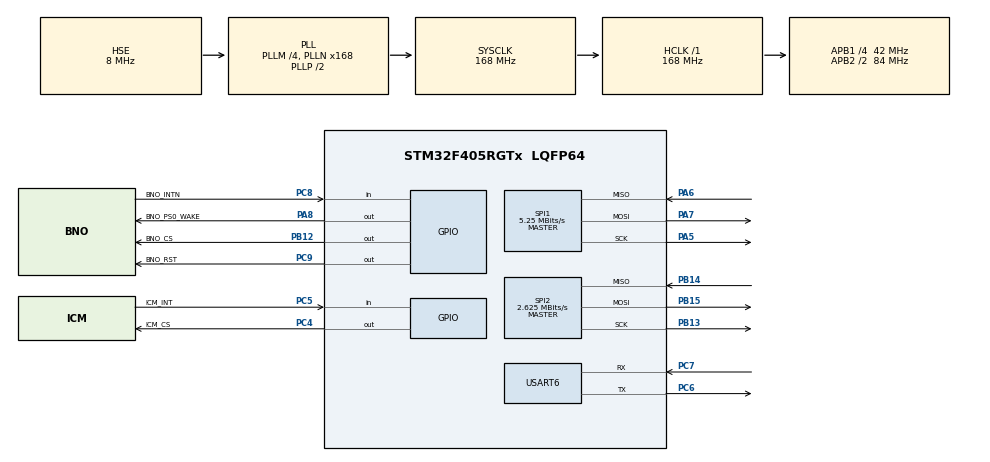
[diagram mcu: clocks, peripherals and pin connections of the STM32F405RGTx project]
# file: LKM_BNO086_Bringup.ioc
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Mcu.Family=STM32F4
Mcu.Name=STM32F405RGTx
Mcu.Package=LQFP64
NVIC.PriorityGroup=NVIC_PRIORITYGROUP_4
PA13.Mode=Serial_Wire
PA13.Signal=SYS_JTMS-SWDIO
PA14.Mode=Serial_Wire
PA14.Signal=SYS_JTCK-SWCLK
PA5.Mode=Full_Duplex_Master
PA5.Signal=SPI1_SCK
PA6.Mode=Full_Duplex_Master
PA6.Signal=SPI1_MISO
PA7.Mode=Full_Duplex_Master
PA7.Signal=SPI1_MOSI
PA8.GPIO_Label=BNO_PS0_WAKE
PA8.PinState=GPIO_PIN_SET
PA8.Signal=GPIO_Output
PB12.GPIO_Label=BNO_CS
PB12.PinState=GPIO_PIN_SET
PB12.Signal=GPIO_Output
PB13.Mode=Full_Duplex_Master
PB13.Signal=SPI2_SCK
PB14.Mode=Full_Duplex_Master
PB14.Signal=SPI2_MISO
PB15.Mode=Full_Duplex_Master
PB15.Signal=SPI2_MOSI
PC4.GPIO_Label=ICM_CS
PC4.PinState=GPIO_PIN_SET
PC4.Signal=GPIO_Output
PC5.GPIO_Label=ICM_INT
PC5.Signal=GPIO_Input
PC6.Mode=Asynchronous
PC6.Signal=USART6_TX
PC7.Mode=Asynchronous
PC7.Signal=USART6_RX
PC8.GPIO_Label=BNO_INTN
PC8.GPIO_PuPd=GPIO_PULLUP
PC8.Signal=GPIO_Input
PC9.GPIO_Label=BNO_RST
PC9.PinState=GPIO_PIN_SET
PC9.Signal=GPIO_Output
PH0-OSC_IN.Mode=HSE-External-Oscillator
PH0-OSC_IN.Signal=RCC_OSC_IN
PH1-OSC_OUT.Mode=HSE-External-Oscillator
PH1-OSC_OUT.Signal=RCC_OSC_OUT
ProjectManager.HeapSize=0x200
ProjectManager.StackSize=0x400
ProjectManager.TargetToolchain=STM32CubeIDE
RCC.48MHZClocksFreq_Value=84000000
RCC.AHBFreq_Value=168000000
RCC.APB1CLKDivider=RCC_HCLK_DIV4
RCC.APB1Freq_Value=42000000
RCC.APB1TimFreq_Value=84000000
RCC.APB2CLKDivider=RCC_HCLK_DIV2
RCC.APB2Freq_Value=84000000
RCC.APB2TimFreq_Value=168000000
RCC.CortexFreq_Value=168000000
RCC.HCLKFreq_Value=168000000
RCC.HSE_VALUE=8000000
RCC.HSI_VALUE=16000000
RCC.LSE_VALUE=32768
RCC.PLLM=4
RCC.PLLN=168
RCC.PLLSourceVirtual=RCC_PLLSOURCE_HSE
RCC.SYSCLKFreq_VALUE=168000000
RCC.SYSCLKSource=RCC_SYSCLKSOURCE_PLLCLK
RCC.VCOOutputFreq_Value=336000000
SPI1.BaudRatePrescaler=SPI_BAUDRATEPRESCALER_16
SPI1.CalculateBaudRate=5.25 MBits/s
SPI1.Direction=SPI_DIRECTION_2LINES
SPI1.Mode=SPI_MODE_MASTER
SPI1.VirtualType=VM_MASTER
SPI2.BaudRatePrescaler=SPI_BAUDRATEPRESCALER_16
SPI2.CLKPhase=SPI_PHASE_2EDGE
SPI2.CLKPolarity=SPI_POLARITY_HIGH
SPI2.CalculateBaudRate=2.625 MBits/s
SPI2.Direction=SPI_DIRECTION_2LINES
SPI2.Mode=SPI_MODE_MASTER
SPI2.VirtualType=VM_MASTER
USART6.VirtualMode=VM_ASYNC
board=custom

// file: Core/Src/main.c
/* USER CODE BEGIN Header */
/**
  ******************************************************************************
  * @file           : main.c
  * @brief          : Main program body
  ******************************************************************************
  * @attention
  *
  * Copyright (c) 2026 STMicroelectronics.
  * All rights reserved.
  *
  * This software is licensed under terms that can be found in the LICENSE file
  * in the root directory of this software component.
  * If no LICENSE file comes with this software, it is provided AS-IS.
  *
  ******************************************************************************
  */
/* USER CODE END Header */
#include "main.h"
#include "spi.h"
#include "usart.h"
#include "gpio.h"

/* USER CODE BEGIN Includes */

#include "lkm_bno086_diag.h"
#include "lkm_bno086_uart_diag.h"
#include "lkm_dual_imu_diag.h"
#include "lkm_fc100hz_bridge.h"
#include "lkm_aw_shadow.h"
#include "lkm_rp_frame_monitor.h"
#include "lkm_fc_actuator_monitor.h"
/* USER CODE END Includes */

void SystemClock_Config(void);

int main(void)
{

  /* MCU Configuration--------------------------------------------------------*/

  /* Reset of all peripherals, Initializes the Flash interface and the Systick. */
  HAL_Init();

  /* Configure the system clock */
  SystemClock_Config();

  /* Initialize all configured peripherals */
  MX_GPIO_Init();
  MX_SPI2_Init();
  MX_USART6_UART_Init();
  MX_SPI1_Init();
  /* USER CODE BEGIN 2 */

    LKM_BNO086_Diag_Init();
    LKM_BNO086_UartDiag_Init();
    LKM_DualIMU_Diag_Init(false); /* ICM-20602 SPI1 access disabled until PCB verification */
    LKM_FC100Hz_Bridge_Init(HAL_GetTick());
    LKM_AW_Shadow_Init(HAL_GetTick(), false); /* SHADOW OFF in firmware */
    LKM_RP_FrameMonitor_Init(); /* FRAME LOCKED; NO PID/ESC */
    LKM_FC_ActuatorMonitor_Init(); /* HARD LOCKED: NO ESC */
  /* USER CODE END 2 */

  /* Infinite loop */
  while (1)
  {

    /* USER CODE BEGIN 3 */
    LKM_BNO086_Diag_Service();
    LKM_BNO086_UartDiag_Service();
    LKM_DualIMU_Diag_Service();
    LKM_FC100Hz_Bridge_Service();
    LKM_AW_Shadow_Service(HAL_GetTick());
    LKM_RP_FrameMonitor_Service();
    LKM_FC_ActuatorMonitor_Service();
  }
  /* USER CODE END 3 */
}

void SystemClock_Config(void)
{
  RCC_OscInitTypeDef RCC_OscInitStruct = {0};
  RCC_ClkInitTypeDef RCC_ClkInitStruct = {0};

  /** Configure the main internal regulator output voltage
  */
  __HAL_RCC_PWR_CLK_ENABLE();
  __HAL_PWR_VOLTAGESCALING_CONFIG(PWR_REGULATOR_VOLTAGE_SCALE1);

  /** Initializes the RCC Oscillators according to the specified parameters
  * in the RCC_OscInitTypeDef structure.
  */
  RCC_OscInitStruct.OscillatorType = RCC_OSCILLATORTYPE_HSE;
  RCC_OscInitStruct.HSEState = RCC_HSE_ON;
  RCC_OscInitStruct.PLL.PLLState = RCC_PLL_ON;
  RCC_OscInitStruct.PLL.PLLSource = RCC_PLLSOURCE_HSE;
  RCC_OscInitStruct.PLL.PLLM = 4;
  RCC_OscInitStruct.PLL.PLLN = 168;
  RCC_OscInitStruct.PLL.PLLP = RCC_PLLP_DIV2;
  RCC_OscInitStruct.PLL.PLLQ = 4;
  if (HAL_RCC_OscConfig(&RCC_OscInitStruct) != HAL_OK)
  {
    Error_Handler();
  }

  /** Initializes the CPU, AHB and APB buses clocks
  */
  RCC_ClkInitStruct.ClockType = RCC_CLOCKTYPE_HCLK|RCC_CLOCKTYPE_SYSCLK
                              |RCC_CLOCKTYPE_PCLK1|RCC_CLOCKTYPE_PCLK2;
  RCC_ClkInitStruct.SYSCLKSource = RCC_SYSCLKSOURCE_PLLCLK;
  RCC_ClkInitStruct.AHBCLKDivider = RCC_SYSCLK_DIV1;
  RCC_ClkInitStruct.APB1CLKDivider = RCC_HCLK_DIV4;
  RCC_ClkInitStruct.APB2CLKDivider = RCC_HCLK_DIV2;

  if (HAL_RCC_ClockConfig(&RCC_ClkInitStruct, FLASH_LATENCY_5) != HAL_OK)
  {
    Error_Handler();
  }
}

void Error_Handler(void)
{
  __disable_irq();
  while (1)
  {
  }
}
